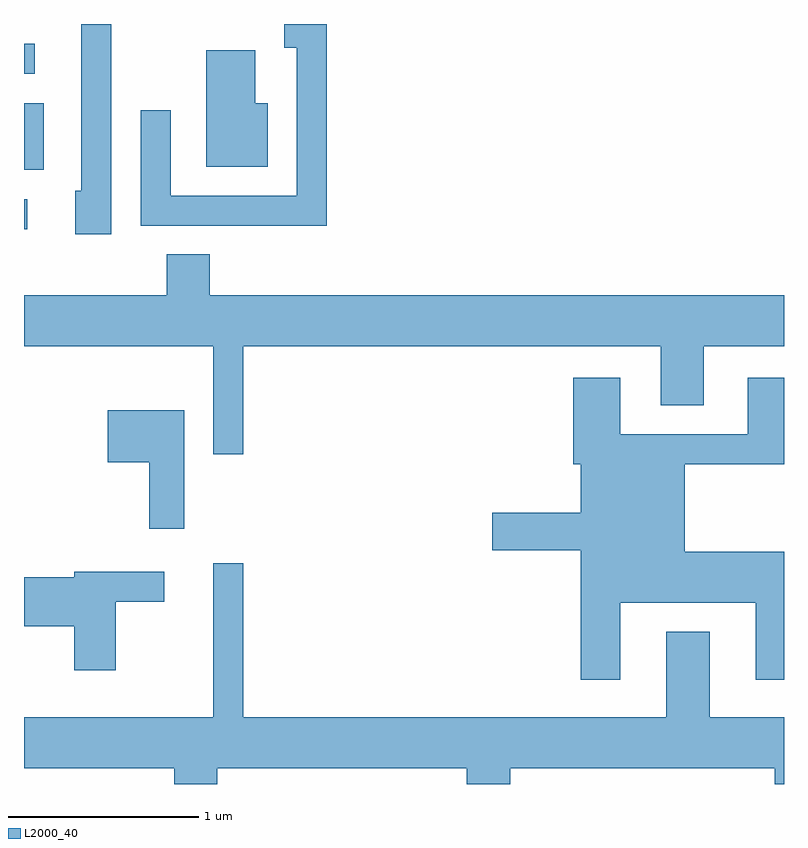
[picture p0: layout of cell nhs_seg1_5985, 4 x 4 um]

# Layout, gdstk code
import gdstk
lib = gdstk.Library(unit=1e-6, precision=1e-09)
def R(c, l, rs):  # rectangles x0, y0, x1, y1
    for r in rs: c.add(gdstk.rectangle(r[:2], r[2:], *l))
def P(c, l, *ps):  # polygons
    for p in ps: c.add(gdstk.Polygon(p, *l))
L2000_40 = (2000, 40)

nhs_seg1_5985 = lib.new_cell('nhs_seg1_5985')
R(nhs_seg1_5985, L2000_40, [(365.611,904.631,365.628,904.789), (365.611,904.946,365.714,905.294), (365.611,905.451,365.668,905.609)])
P(nhs_seg1_5985, L2000_40, [(366.069,905.712),(365.911,905.712),(365.911,904.834),(365.881,904.834),(365.881,904.606),(366.069,904.606)],
  [(367.204,905.712),(366.981,905.712),(366.981,905.586),(367.046,905.586),(367.046,904.809),(366.384,904.809),(366.384,905.258),(366.226,905.258),(366.226,904.651),(367.204,904.651)],
  [(366.894,905.294),(366.829,905.294),(366.829,905.574),(366.571,905.574),(366.571,904.961),(366.894,904.961)],
  [(366.764,904.016),(368.961,904.016),(368.961,903.706),(369.189,903.706),(369.189,904.016),(369.611,904.016),(369.611,904.284),(366.589,904.284),(366.589,904.499),(366.361,904.499),(366.361,904.284),(365.611,904.284),(365.611,904.016),(366.606,904.016),(366.606,903.448),(366.764,903.448)],
  [(368.749,902.666),(369.461,902.666),(369.461,902.261),(369.611,902.261),(369.611,902.934),(369.089,902.934),(369.089,903.396),(369.611,903.396),(369.611,903.849),(369.421,903.849),(369.421,903.554),(368.749,903.554),(368.749,903.849),(368.501,903.849),(368.501,903.396),(368.541,903.396),(368.541,903.139),(368.076,903.139),(368.076,902.941),(368.541,902.941),(368.541,902.261),(368.749,902.261)],
  [(366.454,903.679),(366.051,903.679),(366.051,903.406),(366.271,903.406),(366.271,903.056),(366.454,903.056)],
  [(366.629,901.796),(367.941,901.796),(367.941,901.712),(368.169,901.712),(368.169,901.796),(369.561,901.796),(369.561,901.712),(369.611,901.712),(369.611,902.064),(369.219,902.064),(369.219,902.514),(368.991,902.514),(368.991,902.064),(366.764,902.064),(366.764,902.873),(366.606,902.873),(366.606,902.064),(365.611,902.064),(365.611,901.796),(366.401,901.796),(366.401,901.712),(366.629,901.712)],
  [(366.094,902.671),(366.348,902.671),(366.348,902.829),(365.876,902.829),(365.876,902.799),(365.611,902.799),(365.611,902.541),(365.876,902.541),(365.876,902.311),(366.094,902.311)])

lib.write_gds('nhs_seg1_5985.gds')
